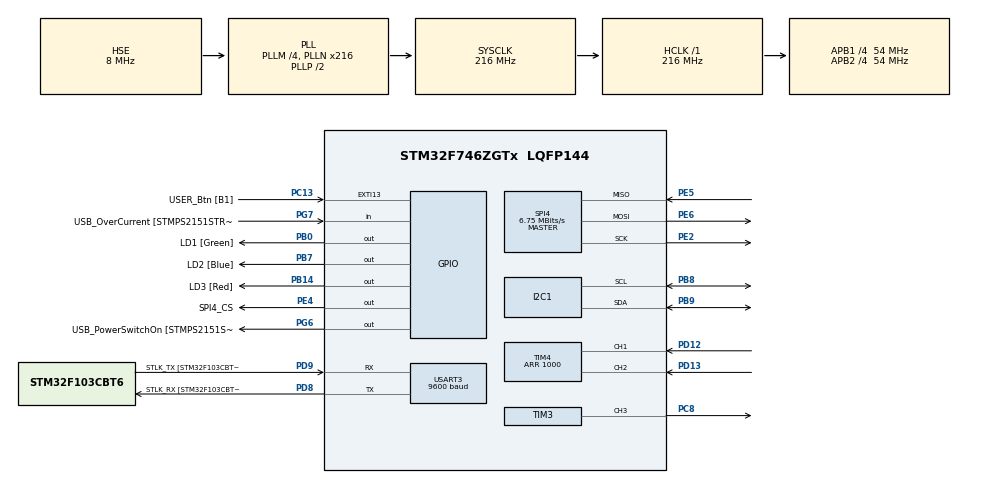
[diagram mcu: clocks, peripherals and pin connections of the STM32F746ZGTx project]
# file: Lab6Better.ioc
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I2C1.Timing=0x20404768
Mcu.Family=STM32F7
Mcu.Name=STM32F746ZGTx
Mcu.Package=LQFP144
NVIC.EXTI15_10_IRQn=true\:0\:0\:false\:false\:true\:true\:true\:true
NVIC.I2C1_ER_IRQn=true\:0\:0\:false\:false\:true\:true\:true\:true
NVIC.I2C1_EV_IRQn=true\:0\:0\:false\:false\:true\:true\:true\:true
NVIC.PriorityGroup=NVIC_PRIORITYGROUP_4
NVIC.SPI4_IRQn=true\:0\:0\:false\:false\:true\:true\:true\:true
NVIC.TIM2_IRQn=true\:0\:0\:false\:false\:true\:true\:true\:true
NVIC.USART3_IRQn=true\:0\:0\:false\:false\:true\:true\:true\:true
PA1.GPIO_Label=RMII_REF_CLK [LAN8742A-CZ-TR_REFCLK0]
PA1.Signal=ETH_REF_CLK
PA10.GPIO_Label=USB_ID
PA10.Signal=USB_OTG_FS_ID
PA11.GPIO_Label=USB_DM
PA11.Signal=USB_OTG_FS_DM
PA12.GPIO_Label=USB_DP
PA12.Signal=USB_OTG_FS_DP
PA13.GPIO_Label=TMS
PA13.Mode=Serial_Wire
PA13.Signal=SYS_JTMS-SWDIO
PA14.GPIO_Label=TCK
PA14.Mode=Serial_Wire
PA14.Signal=SYS_JTCK-SWCLK
PA2.GPIO_Label=RMII_MDIO [LAN8742A-CZ-TR_MDIO]
PA2.Signal=ETH_MDIO
PA7.GPIO_Label=RMII_CRS_DV [LAN8742A-CZ-TR_CRS_DV]
PA7.Signal=ETH_CRS_DV
PA8.GPIO_Label=USB_SOF [TP1]
PA8.Signal=USB_OTG_FS_SOF
PA9.GPIO_Label=USB_VBUS
PA9.Signal=USB_OTG_FS_VBUS
PB0.GPIO_Label=LD1 [Green]
PB0.Signal=GPIO_Output
PB13.GPIO_Label=RMII_TXD1 [LAN8742A-CZ-TR_TXD1]
PB13.Signal=ETH_TXD1
PB14.GPIO_Label=LD3 [Red]
PB14.Signal=GPIO_Output
PB3.GPIO_Label=SW0
PB3.Signal=SYS_JTDO-SWO
PB7.GPIO_Label=LD2 [Blue]
PB7.Signal=GPIO_Output
PB8.Mode=I2C
PB8.Signal=I2C1_SCL
PB9.Mode=I2C
PB9.Signal=I2C1_SDA
PC1.GPIO_Label=RMII_MDC [LAN8742A-CZ-TR_MDC]
PC1.Signal=ETH_MDC
PC13.GPIO_Label=USER_Btn [B1]
PC13.Signal=GPXTI13
PC14/OSC32_IN.Mode=LSE-External-Oscillator
PC14/OSC32_IN.Signal=RCC_OSC32_IN
PC15/OSC32_OUT.Mode=LSE-External-Oscillator
PC15/OSC32_OUT.Signal=RCC_OSC32_OUT
PC4.GPIO_Label=RMII_RXD0 [LAN8742A-CZ-TR_RXD0]
PC4.Signal=ETH_RXD0
PC5.GPIO_Label=RMII_RXD1 [LAN8742A-CZ-TR_RXD1]
PC5.Signal=ETH_RXD1
PC8.Signal=S_TIM3_CH3
PD12.Signal=S_TIM4_CH1
PD13.Signal=S_TIM4_CH2
PD8.GPIO_Label=STLK_RX [STM32F103CBT6_PA3]
PD8.GPIO_PuPd=GPIO_PULLUP
PD8.Mode=Asynchronous
PD8.Signal=USART3_TX
PD9.GPIO_Label=STLK_TX [STM32F103CBT6_PA2]
PD9.GPIO_PuPd=GPIO_PULLUP
PD9.Mode=Asynchronous
PD9.Signal=USART3_RX
PE2.Mode=Full_Duplex_Master
PE2.Signal=SPI4_SCK
PE4.GPIO_Label=SPI4_CS
PE4.Signal=GPIO_Output
PE5.Mode=Full_Duplex_Master
PE5.Signal=SPI4_MISO
PE6.Mode=Full_Duplex_Master
PE6.Signal=SPI4_MOSI
PG11.GPIO_Label=RMII_TX_EN [LAN8742A-CZ-TR_TXEN]
PG11.Signal=ETH_TX_EN
PG13.GPIO_Label=RMII_TXD0 [LAN8742A-CZ-TR_TXD0]
PG13.Signal=ETH_TXD0
PG6.GPIO_Label=USB_PowerSwitchOn [STMPS2151STR_EN]
PG6.Signal=GPIO_Output
PG7.GPIO_Label=USB_OverCurrent [STMPS2151STR_FAULT]
PG7.Signal=GPIO_Input
PH0/OSC_IN.GPIO_Label=MCO [STM32F103CBT6_PA8]
PH0/OSC_IN.Mode=HSE-External-Clock-Source
PH0/OSC_IN.Signal=RCC_OSC_IN
PH1/OSC_OUT.Mode=HSE-External-Clock-Source
PH1/OSC_OUT.Signal=RCC_OSC_OUT
ProjectManager.HeapSize=0x200
ProjectManager.StackSize=0x400
ProjectManager.TargetToolchain=STM32CubeIDE
RCC.48MHZClocksFreq_Value=24000000
RCC.AHBFreq_Value=216000000
RCC.APB1CLKDivider=RCC_HCLK_DIV4
RCC.APB1Freq_Value=54000000
RCC.APB1TimFreq_Value=108000000
RCC.APB2CLKDivider=RCC_HCLK_DIV4
RCC.APB2Freq_Value=54000000
RCC.APB2TimFreq_Value=108000000
RCC.CortexFreq_Value=216000000
RCC.HCLKFreq_Value=216000000
RCC.HSE_VALUE=8000000
RCC.HSI_VALUE=16000000
RCC.PLLM=4
RCC.PLLMUL=RCC_PLL_MUL9
RCC.PLLN=216
RCC.PLLQ=3
RCC.PLLSourceVirtual=RCC_PLLSOURCE_HSE
RCC.PRESCALERUSB=RCC_USBCLKSOURCE_PLL_DIV1_5
RCC.SYSCLKFreq_VALUE=216000000
RCC.SYSCLKSource=RCC_SYSCLKSOURCE_PLLCLK
RCC.SYSCLKSourceVirtual=RCC_SYSCLKSOURCE_PLLCLK
RCC.USBFreq_Value=144000000
RCC.VCOOutputFreq_Value=432000000
SH.S_TIM3_CH3.0=TIM3_CH3,PWM Generation3 CH3
SH.S_TIM4_CH1.0=TIM4_CH1,Encoder_Interface
SH.S_TIM4_CH2.0=TIM4_CH2,Encoder_Interface
SPI4.BaudRatePrescaler=SPI_BAUDRATEPRESCALER_8
SPI4.CLKPhase=SPI_PHASE_2EDGE
SPI4.CLKPolarity=SPI_POLARITY_HIGH
SPI4.CalculateBaudRate=6.75 MBits/s
SPI4.DataSize=SPI_DATASIZE_8BIT
SPI4.Direction=SPI_DIRECTION_2LINES
SPI4.Mode=SPI_MODE_MASTER
SPI4.VirtualType=VM_MASTER
TIM2.Period=24999
TIM2.Prescaler=107
TIM3.Channel-PWM\ Generation3\ CH3=TIM_CHANNEL_3
TIM3.Period=999
TIM3.Prescaler=107
TIM3.Pulse-PWM\ Generation3\ CH3=500
TIM4.EncoderMode=TIM_ENCODERMODE_TI12
TIM4.Period=1000
TIM7.Period=9999
TIM7.Prescaler=1079
USART3.BaudRate=9600
USART3.VirtualMode-Asynchronous=VM_ASYNC
VP_TIM2_VS_ClockSourceINT.Mode=Internal
VP_TIM3_VS_ClockSourceINT.Mode=Internal
VP_TIM7_VS_ClockSourceINT.Mode=Enable_Timer
board=NUCLEO-F746ZG

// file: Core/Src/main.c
/* USER CODE BEGIN Header */
/**
  ******************************************************************************
  * @file           : main.c
  * @brief          : Main program body
  ******************************************************************************
  * @attention
  *
  * Copyright (c) 2024 STMicroelectronics.
  * All rights reserved.
  *
  * This software is licensed under terms that can be found in the LICENSE file
  * in the root directory of this software component.
  * If no LICENSE file comes with this software, it is provided AS-IS.
  *
  ******************************************************************************
  */
/* USER CODE END Header */
#include "main.h"
#include "i2c.h"
#include "spi.h"
#include "tim.h"
#include "usart.h"
#include "gpio.h"

/* USER CODE BEGIN Includes */
#include <stdio.h>
#include <stdbool.h>
#include "bmp2_config.h"
#include "pid_regulator.h"
#include "lcd_i2c.h"
/* USER CODE END Includes */

/* USER CODE BEGIN PV */
double temp = 0.0f;     // [degC]
int newTemp;	//[mdegC]
char UART_zadajnik[]="000";
float current_temp=0.0;
float RezystorTest=-1.0;
float RezystorTestDrive=-1.0;
unsigned int zadana_wart=0;
unsigned int zadane_rezystora=0;
unsigned int zadane_obiektu = 30000;
uint32_t pulse_count;
uint32_t pulse_count_prev;
int Enc = 0;
struct lcd_disp disp;
unsigned int pier_ur = 1;
/* USER CODE END PV */

void SystemClock_Config(void);

/* USER CODE BEGIN 0 */
pid_t2 pid1={.param.Kp=1.5,.param.Ki=0.00002, .param.Kd=0.01,.param.dt=1.0, .previous_error=0,
		.previous_integral=0, .max_output=800.0, .min_output=-800.0};
void HAL_TIM_PeriodElapsedCallback(TIM_HandleTypeDef *htim)
{
  if(htim == &htim2)
  {
    static unsigned int cnt = 0;		//zmienna licznika
    temp = BMP2_ReadTemperature_degC(&bmp2dev_1);	//wczytywanie wartości z czujnika temperatury
    newTemp = (int)(temp*1000);		//wartość temperatury zamieniona na int usuwając cyfry po przecinku

    cnt++;

    if(cnt == 40) 												//If aby rzadziej przesyłała się informacja do Terminala
    {
      uint8_t dane[64];									//utworzenie zmiennej buforu
      int afterKropka = newTemp%1000;
         	  int daneD=sprintf(dane," TEMP: %d.%d [degC]\r\n",newTemp/1000, afterKropka);
         	  HAL_UART_Transmit_IT(&huart3,(uint8_t*)dane , daneD);;	//przesyłanie wiadomości do terminala
      cnt = 0;													//zerowanie licznika
    }

  	  }

  //Regulator-PID
  if(htim == &htim7){

  }
  else{
    		float pwm_duty_f= (999.0*calculate_discrete_pid(&pid1,zadane_obiektu,newTemp));
    		RezystorTest = pwm_duty_f;
    		uint16_t pwm_duty=0;

    		//saturacja
    		if(pwm_duty_f<0)pwm_duty=0;else
    		if(150000>pwm_duty_f)pwm_duty=pwm_duty_f/200;else
    		if(pwm_duty_f>150000)pwm_duty=pwm_duty_f/800;else
    			pwm_duty=(uint16_t)pwm_duty_f;
    		RezystorTestDrive = pwm_duty;

    		__HAL_TIM_SET_COMPARE(&htim3,TIM_CHANNEL_3,pwm_duty);

  }
}

void HAL_UART_RxCpltCallback(UART_HandleTypeDef *huart)
{
	 int value = strtol((uint8_t*)&UART_zadajnik[0], NULL, 10);
	 if(value<30){
		 zadane_obiektu = value*1000;
	 }else{
		 zadane_obiektu = 30000;
	 }
	 if(value>19){
		 zadane_obiektu = value*1000;
	 }else{
		 zadane_obiektu = 20000;
	 }
	 HAL_UART_Receive_IT(&huart3,(uint8_t*)UART_zadajnik , 3);

//	if (UART_zadajnik[0] == 't')
//	{
//		int value = (UART_zadajnik[1]*10);
//		zadane_obiektu = value;
//	}
//
//	HAL_UART_Receive_IT(&huart3, UART_zadajnik , 2);

}

//void HAL_UART_RxCpltCallback(UART_HandleTypeDef *huart)
//{
// int value = strtol((uint8_t*)&PWM[3], NULL, 10);
// __HAL_TIM_SET_COMPARE(&htim3, TIM_CHANNEL_1, value*10);
// HAL_UART_Receive_IT(&huart3,(uint8_t*)PWM , 6);
//}

void display_function()
{
	if(pier_ur){
		lcd_clear(&disp);
		sprintf((char*)disp.f_line, "Hubert");
		sprintf((char*)disp.s_line, "Grzegorz");
		lcd_display(&disp);
		HAL_Delay(1000);
		pier_ur = 0;
	}
	else
	{
		sprintf((char*)disp.f_line, "Temp. akt.:%d.%02d", newTemp / 1000, newTemp % 1000);
		sprintf((char*)disp.s_line, "Temp. zad.:%d.%02d", zadane_obiektu / 1000, zadane_obiektu % 1000);
		lcd_display(&disp);
	}

	HAL_Delay(2000);

}

/* USER CODE END 0 */

int main(void)
{

  /* MCU Configuration--------------------------------------------------------*/

  /* Reset of all peripherals, Initializes the Flash interface and the Systick. */
  HAL_Init();

  /* Configure the system clock */
  SystemClock_Config();

  /* Initialize all configured peripherals */
  MX_GPIO_Init();
  MX_USART3_UART_Init();
  MX_SPI4_Init();
  MX_TIM2_Init();
  MX_TIM3_Init();
  MX_TIM4_Init();
  MX_TIM7_Init();
  MX_I2C1_Init();
  /* USER CODE BEGIN 2 */
  BMP2_Init(&bmp2dev_1);// inicjalizacja czujnika
  HAL_TIM_Base_Start_IT(&htim2);// uruchomienie timerow
  HAL_TIM_Base_Start_IT(&htim7);// uruchomienie timerow
  HAL_TIM_Base_Start_IT(&htim4);// uruchomienie timerow
  HAL_TIM_PWM_Start(&htim3, TIM_CHANNEL_3);
  __HAL_TIM_SET_COMPARE(&htim3, TIM_CHANNEL_3, 0);
  HAL_UART_Receive_IT(&huart3, UART_zadajnik, 3);
  //wyswietlacz
    disp.addr = (0x27 << 1);
    disp.bl = true;
    lcd_init(&disp);

  /* USER CODE END 2 */

  /* Infinite loop */
  /* USER CODE BEGIN WHILE */
  while (1)
  {

	  	  	pulse_count = __HAL_TIM_GET_COUNTER (& htim4 );

	     	if(pulse_count > pulse_count_prev){
	     	  		  Enc++;
	     	  		  zadane_obiektu = zadane_obiektu + Enc*1;
	     	  		  if (zadane_obiektu>30000)zadane_obiektu = 30000;
	     	  		  Enc = 0;
	     	}
	     	if(pulse_count < pulse_count_prev){
	     	  		  Enc++;
	     	  		  zadane_obiektu = zadane_obiektu - Enc*1;
	     	  		  if (zadane_obiektu<20000)zadane_obiektu = 35000;
	     	  		  Enc = 0;
	     	}

	     	pulse_count_prev = pulse_count;
//
//	  HAL_Delay (200) ;

    /* USER CODE END WHILE */

  }
}

void SystemClock_Config(void)
{
  RCC_OscInitTypeDef RCC_OscInitStruct = {0};
  RCC_ClkInitTypeDef RCC_ClkInitStruct = {0};

  /** Configure LSE Drive Capability
  */
  HAL_PWR_EnableBkUpAccess();

  /** Configure the main internal regulator output voltage
  */
  __HAL_RCC_PWR_CLK_ENABLE();
  __HAL_PWR_VOLTAGESCALING_CONFIG(PWR_REGULATOR_VOLTAGE_SCALE1);

  /** Initializes the RCC Oscillators according to the specified parameters
  * in the RCC_OscInitTypeDef structure.
  */
  RCC_OscInitStruct.OscillatorType = RCC_OSCILLATORTYPE_HSE;
  RCC_OscInitStruct.HSEState = RCC_HSE_BYPASS;
  RCC_OscInitStruct.PLL.PLLState = RCC_PLL_ON;
  RCC_OscInitStruct.PLL.PLLSource = RCC_PLLSOURCE_HSE;
  RCC_OscInitStruct.PLL.PLLM = 4;
  RCC_OscInitStruct.PLL.PLLN = 216;
  RCC_OscInitStruct.PLL.PLLP = RCC_PLLP_DIV2;
  RCC_OscInitStruct.PLL.PLLQ = 3;
  if (HAL_RCC_OscConfig(&RCC_OscInitStruct) != HAL_OK)
  {
    Error_Handler();
  }

  /** Activate the Over-Drive mode
  */
  if (HAL_PWREx_EnableOverDrive() != HAL_OK)
  {
    Error_Handler();
  }

  /** Initializes the CPU, AHB and APB buses clocks
  */
  RCC_ClkInitStruct.ClockType = RCC_CLOCKTYPE_HCLK|RCC_CLOCKTYPE_SYSCLK
                              |RCC_CLOCKTYPE_PCLK1|RCC_CLOCKTYPE_PCLK2;
  RCC_ClkInitStruct.SYSCLKSource = RCC_SYSCLKSOURCE_PLLCLK;
  RCC_ClkInitStruct.AHBCLKDivider = RCC_SYSCLK_DIV1;
  RCC_ClkInitStruct.APB1CLKDivider = RCC_HCLK_DIV4;
  RCC_ClkInitStruct.APB2CLKDivider = RCC_HCLK_DIV4;

  if (HAL_RCC_ClockConfig(&RCC_ClkInitStruct, FLASH_LATENCY_7) != HAL_OK)
  {
    Error_Handler();
  }
}

void Error_Handler(void)
{
  __disable_irq();
  while (1)
  {
  }
}
